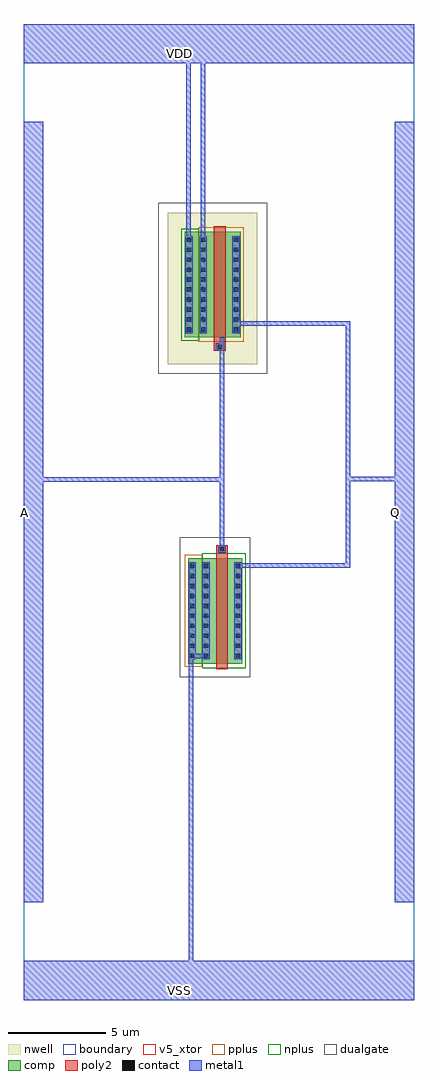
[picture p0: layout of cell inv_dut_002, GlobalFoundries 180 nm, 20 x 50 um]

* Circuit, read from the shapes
.subckt inv_dut_002 A Q VDD VSS
XM1 Q A VSS VSS nfet_05v0 w=5.4u l=0.6u
XM2 Q A VDD VDD pfet_05v0 w=5.4u l=0.6u
.ends

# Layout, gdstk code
from math import pi, radians
import gdstk
lib = gdstk.Library(unit=1e-6, precision=1e-09)
def R(c, l, rs):  # rectangles x0, y0, x1, y1
    for r in rs: c.add(gdstk.rectangle(r[:2], r[2:], *l))
def A(c, l, x, y, w, h, nx, ny, dx, dy):  # array of equal rectangles
    R(c, l, [(x+i*dx, y+j*dy, x+i*dx+w, y+j*dy+h) for i in range(nx) for j in range(ny)])
boundary = (0, 0)
nwell = (21, 0)
comp = (22, 0)
poly2 = (30, 0)
pplus = (31, 0)
nplus = (32, 0)
contact = (33, 0)
metal1 = (34, 0)
dualgate = (55, 0)
v5_xtor = (112, 1)

pfet = lib.new_cell('pfet')
R(pfet, nwell, [(-1.32,-1.37,3.27,6.39)])
R(pfet, comp, [(-0.46,0,2.41,5.4)])
R(pfet, poly2, [(0.31,-0.68,0.91,5.7)])
R(pfet, pplus, [(-0.63,-0.24,1.68,5.64)])
R(pfet, nplus, [(1.68,-0.17,2.58,5.57)])
A(pfet, contact, -0.34, 0.295, 0.22, 0.22, 1, 10, 0, 0.51)
A(pfet, contact, 1.34, 0.295, 0.22, 0.22, 1, 10, 0, 0.51)
A(pfet, contact, 2.07, 0.295, 0.22, 0.22, 1, 10, 0, 0.51)
R(pfet, contact, [(0.5,-0.6,0.72,-0.38)])
R(pfet, metal1, [(0.42,-0.68,0.8,-0.3), (-0.42,0.215,-0.04,5.185), (1.26,0.215,1.64,5.185), (1.99,0.215,2.37,5.185)])
R(pfet, dualgate, [(-1.82,-1.87,3.77,6.89)])
R(pfet, v5_xtor, [(-1.82,-1.87,3.77,6.89)])

nfet = lib.new_cell('nfet')
R(nfet, comp, [(-0.42,0,2.35,5.4)])
R(nfet, poly2, [(0.31,-0.3,0.91,6.06)])
R(nfet, pplus, [(1.64,-0.17,2.52,5.57)])
R(nfet, nplus, [(-0.59,-0.24,1.64,5.64)])
A(nfet, contact, -0.32, 0.295, 0.22, 0.22, 1, 10, 0, 0.51)
A(nfet, contact, 1.32, 0.295, 0.22, 0.22, 1, 10, 0, 0.51)
A(nfet, contact, 2.03, 0.295, 0.22, 0.22, 1, 10, 0, 0.51)
R(nfet, contact, [(0.5,5.77,0.72,5.99)])
R(nfet, metal1, [(-0.4,0.215,-0.02,5.185), (1.24,0.215,1.62,5.185), (1.95,0.215,2.33,5.185), (0.42,5.69,0.8,6.07)])
R(nfet, dualgate, [(-0.84,-0.71,2.77,6.48)])
R(nfet, v5_xtor, [(-0.84,-0.71,2.77,6.48)])

inv_dut_002 = lib.new_cell('inv_dut_002')
R(inv_dut_002, boundary, [(-10,-25,10,25)])
R(inv_dut_002, metal1, [(-10,-25,10,-23), (-10,-20,-9,20), (9,-20,10,20), (-10,23,10,25)])
inv_dut_002.add(gdstk.FlexPath([(0.145,8.955),(0.145,-1.93),(0.28,-1.93)], 0.23, ends="flush", simple_path=True, layer=34, datatype=0))  # metal1
inv_dut_002.add(gdstk.FlexPath([(0.03,1.655),(-9.665,1.655),(-9.665,1.655)], 0.23, ends="flush", simple_path=True, layer=34, datatype=0))  # metal1
inv_dut_002.add(gdstk.FlexPath([(-0.83,23.015),(-0.83,13.82)], 0.23, ends="flush", simple_path=True, layer=34, datatype=0))  # metal1
inv_dut_002.add(gdstk.FlexPath([(-1.435,-7.485),(-1.435,-23.57),(-1.435,-23.57)], 0.23, ends="flush", simple_path=True, layer=34, datatype=0))  # metal1
inv_dut_002.add(gdstk.FlexPath([(0.8,9.665),(6.61,9.665),(6.61,-2.75),(0.88,-2.75),(0.88,-2.75)], 0.23, ends="flush", simple_path=True, layer=34, datatype=0))  # metal1
inv_dut_002.add(gdstk.FlexPath([(6.605,1.69),(9.275,1.69),(9.275,1.69)], 0.23, ends="flush", simple_path=True, layer=34, datatype=0))  # metal1
inv_dut_002.add(gdstk.FlexPath([(-1.5,-7.375),(-0.635,-7.375),(-0.635,-7.48)], 0.23, ends="flush", simple_path=True, layer=34, datatype=0))  # metal1
inv_dut_002.add(gdstk.FlexPath([(-1.555,23.07),(-1.555,13.875)], 0.23, ends="flush", simple_path=True, layer=34, datatype=0))  # metal1
inv_dut_002.add(gdstk.Reference(pfet, (0.645,8.95), rotation=pi, x_reflection=True))
inv_dut_002.add(gdstk.Reference(nfet, (0.77,-7.765), rotation=pi, x_reflection=True))
inv_dut_002.add(gdstk.Label('VDD', (-2,23.5), layer=34, texttype=10))
inv_dut_002.add(gdstk.Label('VSS', (-2,-24.5), layer=34, texttype=10))
inv_dut_002.add(gdstk.Label('A', (-9.97,0), layer=34, texttype=10))
inv_dut_002.add(gdstk.Label('Q', (9.03,0), layer=34, texttype=10))

lib.write_gds('inv_dut_002.gds')
